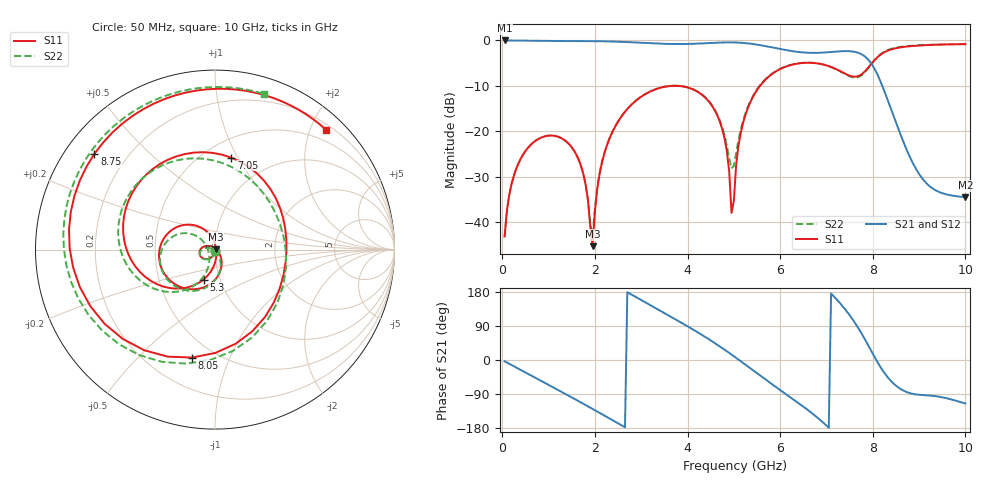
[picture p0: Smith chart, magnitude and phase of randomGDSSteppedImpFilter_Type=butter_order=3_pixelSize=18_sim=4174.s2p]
! freq	dB(S11)	phase(S11)	dB(S12)	phase(S12)
!  dB(S21)	phase(S21)	dB(S22)	phase(S22)
!S-par simulation data
#  GHz  S  DB  R 50
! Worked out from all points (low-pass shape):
!   200 points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, 50 MHz to 10 GHz, reference 50 ohm
!   highest |S21| = -0.01 dB at 50 MHz (marker M1); lowest = -34.5 dB at 10 GHz (marker M2)
!   |S21| within 3 dB of the highest: start of sweep to 7.749 GHz
!   lowest |S11| = -45.4 dB at 1.95 GHz (marker M3), VSWR 1.01, Z = 50.5 + j0.239 ohm
!   |S11| at or under -10 dB: start of sweep to 5.567 GHz
!   |S22| runs from -43.3 to -0.8 dB; largest |S21 - S12| = 0
!   S11 on the Smith chart (normalised r, x): 50 MHz: 1.00, -0.01; 5.3 GHz: 0.84, -0.29; 7.05 GHz: 0.67, +0.94; 8.05 GHz: 0.38, -0.74; 8.75 GHz: 0.09, +0.35; 10 GHz: 0.29, +2.26
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0.05  -43.23 -90.1  -0.01 -3.4  -0.01 -3.4  -43.28 -89.1
0.25  -29.80 -106.2  -0.03 -16.6  -0.03 -16.6  -29.79 -105.4
0.7  -22.25 -137.6  -0.09 -46.1  -0.09 -46.1  -22.25 -135.0
1.75  -29.44 145.2  -0.15 -115.5  -0.15 -115.5  -29.44 164.9
1.95  -45.35 26.0  -0.16 -129.1  -0.16 -129.1  -43.09 -108.5
2.1  -29.48 -43.2  -0.18 -139.4  -0.18 -139.4  -29.31 -59.9
2.35  -20.80 -66.0  -0.23 -156.7  -0.23 -156.7  -20.75 -69.8
3.4  -10.47 -142.3  -0.72 130.6  -0.72 130.6  -10.45 -136.7
4.6  -15.64 127.1  -0.52 43.7  -0.52 43.7  -15.49 147.8
4.85  -24.49 101.5  -0.44 23.0  -0.44 23.0  -23.21 148.3
4.95  -38.01 61.9  -0.44 14.3  -0.44 14.3  -28.22 -175.9
5.05  -27.43 -80.7  -0.46 5.6  -0.46 5.6  -24.78 -122.5
5.3  -14.98 -110.9  -0.64 -16.9  -0.64 -16.9  -14.71 -114.8
5.95  -6.58 -172.4  -1.81 -74.8  -1.81 -74.8  -6.52 -162.6
6.7  -4.95 118.0  -2.74 -141.6  -2.74 -141.6  -4.93 136.3
7.05  -5.67 80.0  -2.60 -178.8  -2.60 -178.8  -5.66 102.5
7.65  -7.96 -10.3  -2.62 91.5  -2.62 91.5  -8.20 10.0
8.05  -4.23 -101.9  -6.50 5.5  -6.50 5.5  -4.22 -92.3
8.35  -2.14 -164.5  -13.90 -49.5  -13.90 -49.5  -2.02 -152.6
8.75  -1.33 141.6  -24.52 -85.4  -24.52 -85.4  -1.24 158.6
9.3  -0.97 93.0  -32.68 -94.6  -32.68 -94.6  -0.94 115.2
10  -0.82 47.1  -34.54 -114.8  -34.54 -114.8  -0.83 72.7
